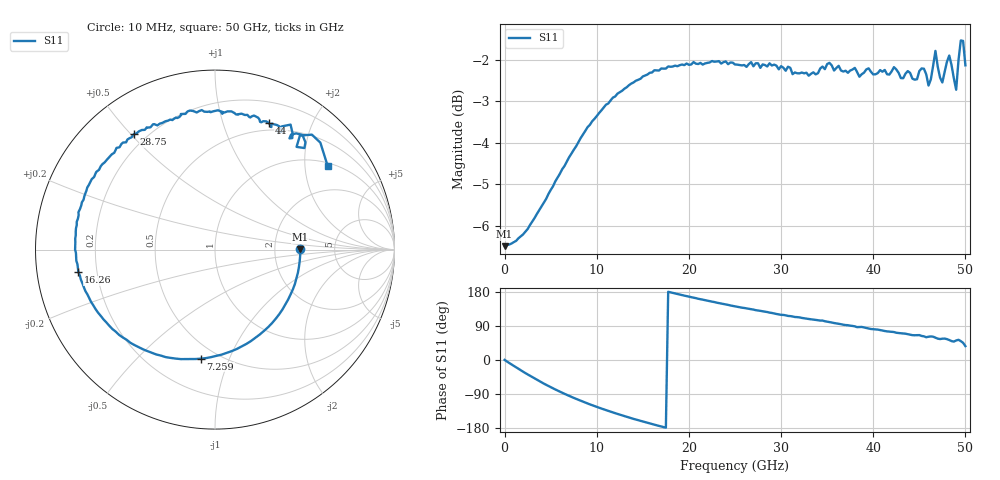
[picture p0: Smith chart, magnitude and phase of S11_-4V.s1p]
!Agilent Technologies,N5227A,US51270434,A.10.00.00
!Agilent N5227A: A.10.00.00
!Date: Thursday, February 26, 2026 12:30:06
!Correction: S11(Full 1 Port(1))
!S1P File: Measurement: S11:
# Hz S  dB  R 50
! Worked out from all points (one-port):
!   201 points, 10 MHz to 50 GHz, reference 50 ohm
!   lowest |S11| = -6.5 dB at 10 MHz (marker M1), VSWR 2.80, Z = 140 + j0.784 ohm
!   |S11| at or under -10 dB: nowhere
!   S11 on the Smith chart (normalised r, x): 10 MHz: 2.80, +0.02; 7.259 GHz: 0.41, -0.79; 16.26 GHz: 0.13, -0.08; 28.75 GHz: 0.15, +0.51; 44 GHz: 0.42, +1.43; 50 GHz: 1.09, +2.62
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1e7  -6.48 0.3
2.75945e9  -5.98 -41.6
4.75905e9  -5.23 -68.6
6.25875e9  -4.63 -86.5
7.25855e9  -4.26 -97.3
9.5081e9  -3.48 -119.3
1.25075e10  -2.78 -144.3
1.625675e10  -2.26 -170.6
1.875625e10  -2.16 174.1
2.25055e10  -2.03 154.1
2.5005e10  -2.12 141.7
2.875425e10  -2.09 125.1
3.125375e10  -2.35 114.9
3.525295e10  -2.08 100.2
3.75025e10  -2.26 90.7
4.375125e10  -2.28 68.2
4.40012e10  -2.32 66.8
4.575085e10  -2.35 60.1
4.60008e10  -2.62 61.5
4.675065e10  -1.79 58.8
4.725055e10  -2.43 55.3
4.775045e10  -2.29 56.5
4.825035e10  -1.90 52.7
4.875025e10  -2.45 48.6
4.90002e10  -2.72 51.6
4.95001e10  -1.54 49.9
4.975005e10  -1.55 45.4
5e10  -2.14 36.6
